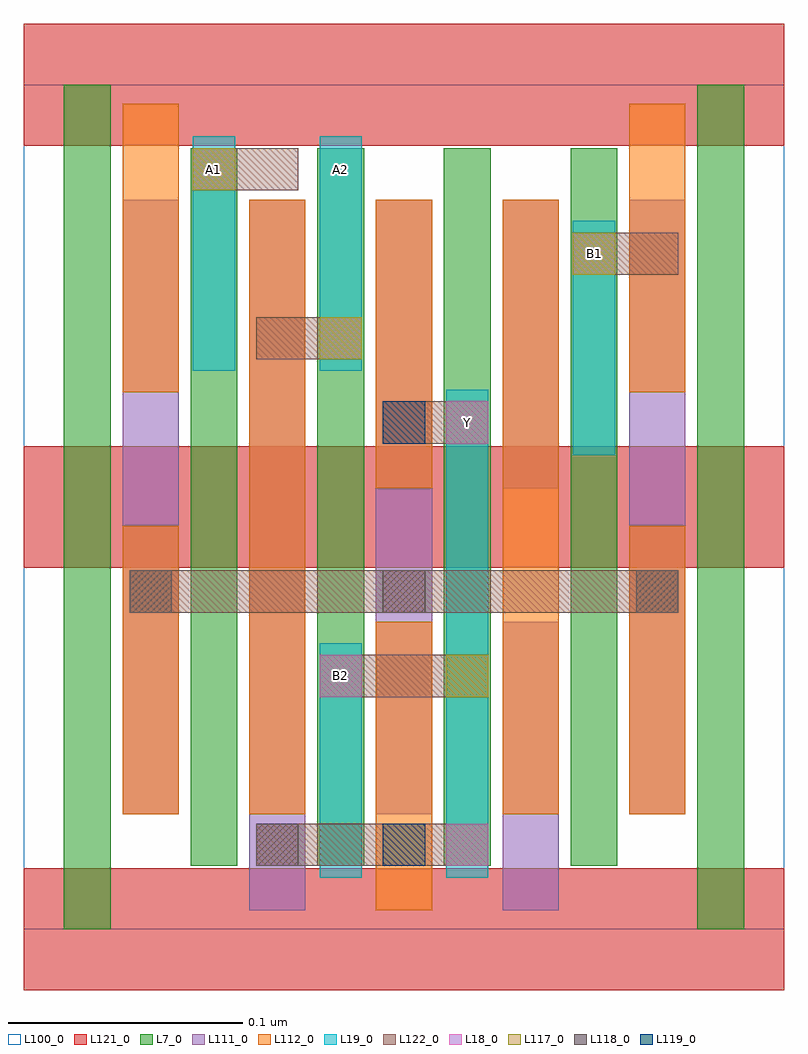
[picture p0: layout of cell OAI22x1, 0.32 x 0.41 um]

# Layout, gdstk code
import gdstk
lib = gdstk.Library(unit=1e-6, precision=2.5e-10)
def R(c, l, rs):  # rectangles x0, y0, x1, y1
    for r in rs: c.add(gdstk.rectangle(r[:2], r[2:], *l))
def A(c, l, x, y, w, h, nx, ny, dx, dy):  # array of equal rectangles
    R(c, l, [(x+i*dx, y+j*dy, x+i*dx+w, y+j*dy+h) for i in range(nx) for j in range(ny)])
L7_0 = (7, 0)
L18_0 = (18, 0)
L19_0 = (19, 0)
L100_0 = (100, 0)
L111_0 = (111, 0)
L112_0 = (112, 0)
L117_0 = (117, 0)
L118_0 = (118, 0)
L119_0 = (119, 0)
L121_0 = (121, 0)
L122_0 = (122, 0)

oai22x1 = lib.new_cell('OAI22x1')
A(oai22x1, L7_0, 0.071, 0.027, 0.02, 0.153, 4, 2, 0.054, 0.153)
R(oai22x1, L7_0, [(0.017,0,0.037,0.18), (0.287,0,0.307,0.18), (0.017,0.18,0.037,0.36), (0.287,0.18,0.307,0.36)])
R(oai22x1, L18_0, [(0.18,0.027,0.198,0.045), (0.126,0.099,0.144,0.117), (0.18,0.207,0.198,0.225), (0.126,0.243,0.144,0.261), (0.234,0.279,0.252,0.297), (0.072,0.315,0.09,0.333)])
R(oai22x1, L19_0, [(0.126,0.022,0.144,0.122), (0.18,0.022,0.198,0.23), (0.234,0.202,0.252,0.302), (0.072,0.238,0.09,0.338), (0.126,0.238,0.144,0.338)])
R(oai22x1, L100_0, [(0,0,0.324,0.36)])
A(oai22x1, L111_0, 0.042, 0.049, 0.024, 0.131, 3, 1, 0.108, 0)
A(oai22x1, L111_0, 0.042, 0.18, 0.024, 0.131, 3, 1, 0.054, 0)
R(oai22x1, L111_0, [(0.096,0.008,0.12,0.18), (0.204,0.008,0.228,0.131), (0.258,0.18,0.282,0.311), (0.204,0.188,0.228,0.311)])
R(oai22x1, L112_0, [(0.15,0.008,0.174,0.131), (0.042,0.049,0.066,0.172), (0.096,0.049,0.12,0.18), (0.204,0.049,0.228,0.18), (0.258,0.049,0.282,0.172), (0.096,0.18,0.12,0.311), (0.204,0.18,0.228,0.311), (0.15,0.188,0.174,0.311), (0.042,0.229,0.066,0.352), (0.258,0.229,0.282,0.352)])
R(oai22x1, L117_0, [(0.18,0.099,0.198,0.117), (0.126,0.243,0.144,0.261), (0.234,0.279,0.252,0.297), (0.072,0.315,0.09,0.333)])
A(oai22x1, L118_0, 0.045, 0.135, 0.018, 0.018, 3, 1, 0.108, 0)
R(oai22x1, L118_0, [(0.099,0.027,0.117,0.045)])
R(oai22x1, L119_0, [(0.153,0.027,0.171,0.045), (0.153,0.207,0.171,0.225)])
A(oai22x1, L121_0, 0, -0.026, 0.324, 0.052, 1, 3, 0, 0.18)
R(oai22x1, L122_0, [(0.099,0.027,0.198,0.045), (0.126,0.099,0.198,0.117), (0.045,0.135,0.279,0.153), (0.153,0.207,0.198,0.225), (0.099,0.243,0.144,0.261), (0.234,0.279,0.279,0.297), (0.072,0.315,0.117,0.333)])
oai22x1.add(gdstk.Label('Y', (0.189,0.216), layer=19, texttype=251))
oai22x1.add(gdstk.Label('B2', (0.135,0.108), layer=19, texttype=251))
oai22x1.add(gdstk.Label('B1', (0.243,0.288), layer=19, texttype=251))
oai22x1.add(gdstk.Label('A2', (0.135,0.324), layer=19, texttype=251))
oai22x1.add(gdstk.Label('A1', (0.081,0.324), layer=19, texttype=251))

lib.write_gds('OAI22x1.gds')
